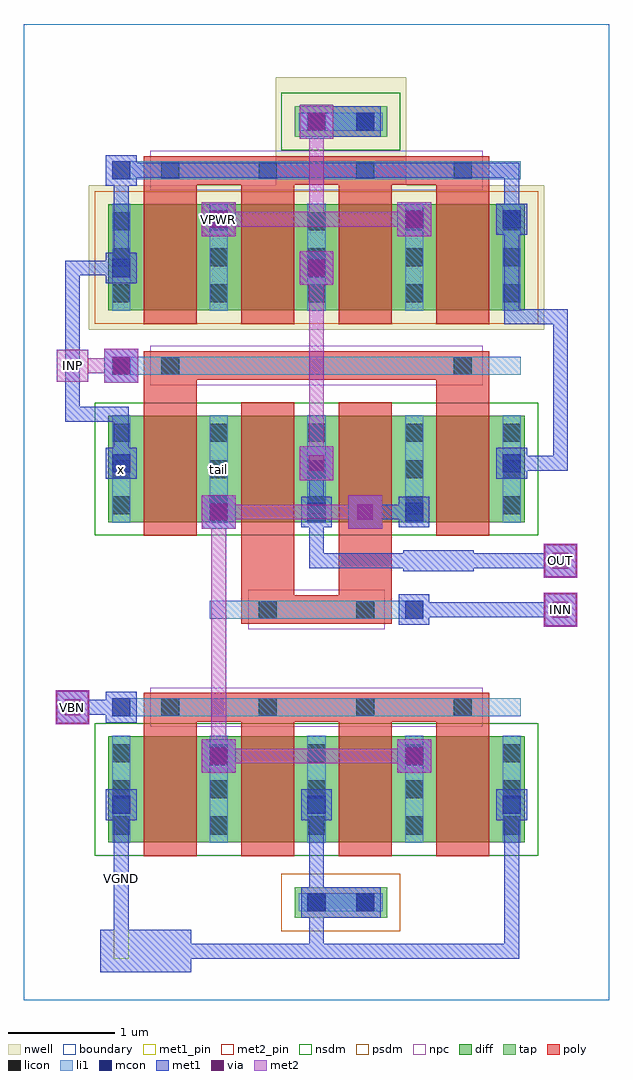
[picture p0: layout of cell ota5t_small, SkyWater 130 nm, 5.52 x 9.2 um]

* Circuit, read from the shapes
.subckt ota5t_small INN INP OUT VBN VGND VPWR tail x
XM1 tail VBN VGND VGND sky130_fd_pr__nfet_01v8 w=1 l=0.5 m=4
XM2 tail INP x VGND sky130_fd_pr__nfet_01v8 w=1 l=0.5 m=2
XM3 OUT INN tail VGND sky130_fd_pr__nfet_01v8 w=1 l=0.5 m=2
XM4 VPWR x x VPWR sky130_fd_pr__pfet_01v8 w=1 l=0.5 m=2
XM5 OUT x VPWR VPWR sky130_fd_pr__pfet_01v8 w=1 l=0.5 m=2
.ends

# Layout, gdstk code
import gdstk
lib = gdstk.Library(unit=1e-6, precision=1e-09)
def R(c, l, rs):  # rectangles x0, y0, x1, y1
    for r in rs: c.add(gdstk.rectangle(r[:2], r[2:], *l))
def A(c, l, x, y, w, h, nx, ny, dx, dy):  # array of equal rectangles
    R(c, l, [(x+i*dx, y+j*dy, x+i*dx+w, y+j*dy+h) for i in range(nx) for j in range(ny)])
nwell = (64, 20)
diff = (65, 20)
tap = (65, 44)
poly = (66, 20)
licon = (66, 44)
li1 = (67, 20)
mcon = (67, 44)
met1_pin = (68, 16)
met1 = (68, 20)
via = (68, 44)
met2_pin = (69, 16)
met2 = (69, 20)
nsdm = (93, 44)
psdm = (94, 20)
npc = (95, 20)
boundary = (235, 4)

ota5t_small = lib.new_cell('ota5t_small')
R(ota5t_small, nwell, [(0.615,6.32,4.905,7.68), (2.375,7.68,3.605,8.7)])
R(ota5t_small, diff, [(0.795,1.485,4.725,2.485), (0.795,4.505,4.725,5.505), (0.795,6.5,4.725,7.5)])
R(ota5t_small, tap, [(2.555,0.775,3.425,1.065), (2.555,8.135,3.425,8.425)])
A(ota5t_small, poly, 1.13, 1.355, 0.5, 1.405, 4, 1, 0.92, 0)
A(ota5t_small, poly, 1.13, 6.37, 0.5, 1.45, 4, 1, 0.92, 0)
R(ota5t_small, poly, [(1.13,2.625,4.39,2.895), (2.05,3.545,3.47,3.815), (2.05,3.68,2.55,5.635), (2.97,3.68,3.47,5.635), (1.13,4.375,1.63,5.98), (3.89,4.375,4.39,5.98), (1.13,5.845,4.39,6.115), (1.13,7.685,4.39,7.955)])
A(ota5t_small, licon, 0.835, 1.56, 0.17, 0.17, 5, 3, 0.92, 0.34)
A(ota5t_small, licon, 1.295, 2.675, 0.17, 0.17, 4, 2, 0.92, 5.06)
A(ota5t_small, licon, 0.835, 4.58, 0.17, 0.17, 5, 3, 0.92, 0.34)
A(ota5t_small, licon, 0.835, 6.575, 0.17, 0.17, 5, 3, 0.92, 0.34)
R(ota5t_small, licon, [(2.675,0.835,2.845,1.005), (3.135,0.835,3.305,1.005), (2.215,3.595,2.385,3.765), (3.135,3.595,3.305,3.765), (1.295,5.895,1.465,6.065), (4.055,5.895,4.225,6.065), (2.675,8.195,2.845,8.365), (3.135,8.195,3.305,8.365)])
A(ota5t_small, li1, 0.835, 1.48, 0.17, 1.01, 5, 2, 0.92, 3.02)
A(ota5t_small, li1, 0.835, 6.495, 0.17, 1.01, 5, 1, 0.92, 0)
R(ota5t_small, li1, [(2.595,0.835,3.385,1.005), (0.835,2.675,4.685,2.845), (1.755,3.595,3.765,3.765), (0.835,5.895,4.685,6.065), (0.835,7.735,4.685,7.905), (2.595,8.195,3.385,8.365)])
A(ota5t_small, mcon, 0.835, 1.755, 0.17, 0.17, 3, 1, 1.84, 0)
A(ota5t_small, mcon, 1.755, 4.515, 0.17, 0.17, 3, 1, 0.92, 0)
A(ota5t_small, mcon, 0.835, 4.975, 0.17, 0.17, 1, 4, 0, 0.92)
R(ota5t_small, mcon, [(2.675,0.835,2.845,1.005), (3.135,0.835,3.305,1.005), (1.755,2.215,1.925,2.385), (3.595,2.215,3.765,2.385), (0.835,2.675,1.005,2.845), (3.595,3.595,3.765,3.765), (4.515,4.975,4.685,5.145), (2.675,6.815,2.845,6.985), (1.755,7.275,1.925,7.445), (3.595,7.275,3.765,7.445), (4.515,7.275,4.685,7.445), (2.675,8.195,2.845,8.365), (3.135,8.195,3.305,8.365)])
R(ota5t_small, met1_pin, [(0.85,0.39,0.99,1.91), (1.695,7.215,1.985,7.505)])
A(ota5t_small, met1, 0.775, 1.695, 0.29, 0.29, 3, 1, 1.84, 0)
A(ota5t_small, met1, 1.695, 4.455, 0.29, 0.29, 3, 1, 0.92, 0)
A(ota5t_small, met1, 0.775, 4.915, 0.29, 0.29, 1, 4, 0, 0.92)
R(ota5t_small, met1, [(0.72,0.26,1.58,0.66), (0.85,0.39,0.99,1.91), (1.31,0.39,2.83,0.53), (2.69,0.39,2.83,0.99), (2.69,0.39,4.67,0.53), (4.53,0.39,4.67,1.91), (2.615,0.775,3.365,1.065), (2.69,0.85,2.83,1.91), (2.69,0.85,2.83,0.99), (1.68,2.14,2,2.46), (3.52,2.14,3.84,2.46), (1.695,2.155,1.985,2.445), (3.535,2.155,3.825,2.445), (0.3,2.6,0.62,2.92), (0.775,2.615,1.065,2.905), (0.39,2.69,0.99,2.83), (4.9,3.52,5.22,3.84), (3.535,3.535,3.825,3.825), (3.61,3.61,5.13,3.75), (4.9,3.98,5.22,4.3), (3.58,4.04,4.24,4.24), (2.69,4.07,2.83,4.67), (2.69,4.07,3.75,4.21), (4.07,4.07,5.13,4.21), (1.68,4.44,2,4.76), (3.06,4.44,3.38,4.76), (2.69,4.53,2.83,5.13), (3.15,4.53,3.75,4.67), (2.6,4.9,2.92,5.22), (4.455,4.915,4.745,5.205), (0.85,4.99,0.99,5.59), (4.53,4.99,5.13,5.13), (4.99,4.99,5.13,6.51), (0.39,5.45,0.99,5.59), (0.39,5.45,0.53,6.97), (0.76,5.82,1.08,6.14), (4.53,6.37,5.13,6.51), (4.53,6.37,4.67,7.43), (2.6,6.74,2.92,7.06), (2.615,6.755,2.905,7.045), (0.39,6.83,0.99,6.97), (0.85,6.83,0.99,7.89), (1.68,7.2,2,7.52), (3.52,7.2,3.84,7.52), (1.695,7.215,1.985,7.505), (3.535,7.215,3.825,7.505), (4.455,7.215,4.745,7.505), (4.53,7.29,4.67,7.89), (0.85,7.75,4.67,7.89), (2.6,8.12,2.92,8.44), (2.615,8.135,3.365,8.425), (2.69,8.21,2.83,8.35)])
R(ota5t_small, via, [(1.765,2.225,1.915,2.375), (3.605,2.225,3.755,2.375), (0.385,2.685,0.535,2.835), (4.985,3.605,5.135,3.755), (4.985,4.065,5.135,4.215), (1.765,4.525,1.915,4.675), (3.145,4.525,3.295,4.675), (2.685,4.985,2.835,5.135), (0.845,5.905,0.995,6.055), (2.685,6.825,2.835,6.975), (1.765,7.285,1.915,7.435), (3.605,7.285,3.755,7.435), (2.685,8.205,2.835,8.355)])
R(ota5t_small, met2_pin, [(0.31,2.61,0.61,2.91), (4.91,3.53,5.21,3.83), (4.91,3.99,5.21,4.29), (0.31,5.83,0.61,6.13)])
R(ota5t_small, met2, [(1.68,2.14,2,2.46), (3.52,2.14,3.84,2.46), (1.77,2.23,1.91,4.67), (1.77,2.23,3.75,2.37), (0.3,2.6,0.62,2.92), (0.31,2.61,0.61,2.91), (0.39,2.69,0.53,2.83), (4.9,3.52,5.22,3.84), (4.91,3.53,5.21,3.83), (4.99,3.61,5.13,3.75), (4.9,3.98,5.22,4.3), (4.91,3.99,5.21,4.29), (4.99,4.07,5.13,4.21), (1.68,4.44,2,4.76), (3.06,4.44,3.38,4.76), (1.77,4.53,3.29,4.67), (2.6,4.9,2.92,5.22), (2.69,4.99,2.83,6.97), (0.76,5.82,1.08,6.14), (0.31,5.83,0.61,6.13), (0.39,5.91,0.53,6.05), (0.39,5.91,0.99,6.05), (2.6,6.74,2.92,7.06), (1.68,7.2,2,7.52), (3.52,7.2,3.84,7.52), (1.77,7.29,2.83,7.43), (2.69,7.29,3.75,7.43), (2.69,7.29,2.83,8.35), (2.6,8.12,2.92,8.44)])
R(ota5t_small, nsdm, [(0.67,1.36,4.85,2.61), (0.67,4.38,4.85,5.63), (2.43,8.01,3.55,8.55)])
R(ota5t_small, psdm, [(2.43,0.65,3.55,1.19), (0.67,6.375,4.85,7.625)])
R(ota5t_small, npc, [(1.195,2.575,4.325,2.945), (2.115,3.495,3.405,3.865), (1.195,5.795,4.325,6.165), (1.195,7.635,4.325,8.005)])
R(ota5t_small, boundary, [(0,0,5.52,9.2)])
ota5t_small.add(gdstk.Label('x', (0.92,5.005), layer=67, texttype=5))
ota5t_small.add(gdstk.Label('tail', (1.84,5.005), layer=67, texttype=5))
ota5t_small.add(gdstk.Label('VPWR', (1.84,7.36), layer=68, texttype=5))
ota5t_small.add(gdstk.Label('VGND', (0.92,1.15), layer=68, texttype=5))
ota5t_small.add(gdstk.Label('INP', (0.46,5.98), layer=69, texttype=5))
ota5t_small.add(gdstk.Label('INN', (5.06,3.68), layer=69, texttype=5))
ota5t_small.add(gdstk.Label('VBN', (0.46,2.76), layer=69, texttype=5))
ota5t_small.add(gdstk.Label('OUT', (5.06,4.14), layer=69, texttype=5))
ota5t_small.add(gdstk.Label('VPWR', (1.84,7.36), layer=68, texttype=16))
ota5t_small.add(gdstk.Label('VGND', (0.92,1.15), layer=68, texttype=16))
ota5t_small.add(gdstk.Label('INP', (0.46,5.98), layer=69, texttype=16))
ota5t_small.add(gdstk.Label('INN', (5.06,3.68), layer=69, texttype=16))
ota5t_small.add(gdstk.Label('VBN', (0.46,2.76), layer=69, texttype=16))
ota5t_small.add(gdstk.Label('OUT', (5.06,4.14), layer=69, texttype=16))

lib.write_gds('ota5t_small.gds')
